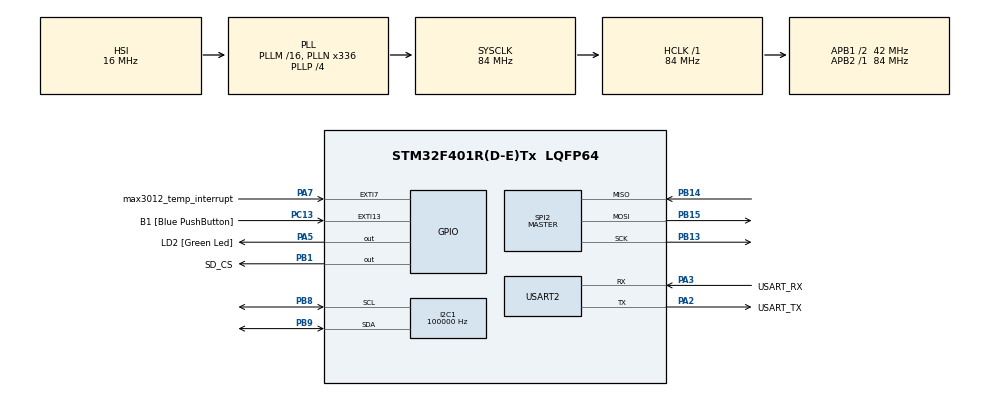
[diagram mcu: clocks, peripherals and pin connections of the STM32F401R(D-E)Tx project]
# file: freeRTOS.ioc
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FREERTOS.BinarySemaphores01=Semaphorebinary,Dynamic,NULL,Available
FREERTOS.INCLUDE_vTaskDelayUntil=0
FREERTOS.Queues01=queue,1,uint32_t,0,Dynamic,NULL,NULL
FREERTOS.Tasks01=Sense,2,128,datasense,Default,NULL,Dynamic,NULL,NULL;Log,0,128,datalog,Default,NULL,Dynamic,NULL,NULL
FREERTOS.configUSE_NEWLIB_REENTRANT=1
FREERTOS.configUSE_PREEMPTION=1
I2C1.ClockSpeed=100000
I2C1.I2C_Mode=I2C_Standard
Mcu.Family=STM32F4
Mcu.Name=STM32F401R(D-E)Tx
Mcu.Package=LQFP64
NVIC.EXTI15_10_IRQn=true\:5\:0\:false\:false\:true\:true\:true\:true\:true
NVIC.EXTI9_5_IRQn=true\:5\:0\:false\:false\:true\:true\:true\:true\:true
NVIC.PriorityGroup=NVIC_PRIORITYGROUP_4
NVIC.TIM5_IRQn=true\:15\:0\:false\:false\:true\:false\:false\:true\:true
NVIC.TimeBase=TIM5_IRQn
NVIC.TimeBaseIP=TIM5
PA13.GPIO_Label=TMS
PA13.Mode=Trace_Asynchronous_SW
PA13.Signal=SYS_JTMS-SWDIO
PA14.GPIO_Label=TCK
PA14.Mode=Trace_Asynchronous_SW
PA14.Signal=SYS_JTCK-SWCLK
PA2.GPIO_Label=USART_TX
PA2.GPIO_Mode=GPIO_MODE_AF_PP
PA2.GPIO_PuPd=GPIO_NOPULL
PA2.GPIO_Speed=GPIO_SPEED_FREQ_LOW
PA2.Mode=Asynchronous
PA2.Signal=USART2_TX
PA3.GPIO_Label=USART_RX
PA3.GPIO_Mode=GPIO_MODE_AF_PP
PA3.GPIO_PuPd=GPIO_NOPULL
PA3.GPIO_Speed=GPIO_SPEED_FREQ_LOW
PA3.Mode=Asynchronous
PA3.Signal=USART2_RX
PA5.GPIO_Label=LD2 [Green Led]
PA5.GPIO_Mode=GPIO_MODE_OUTPUT_PP
PA5.GPIO_PuPd=GPIO_NOPULL
PA5.GPIO_Speed=GPIO_SPEED_FREQ_LOW
PA5.Signal=GPIO_Output
PA7.GPIO_Label=max3012_temp_interrupt
PA7.GPIO_ModeDefaultEXTI=GPIO_MODE_IT_FALLING
PA7.GPIO_PuPd=GPIO_PULLUP
PA7.Signal=GPXTI7
PB1.GPIO_Label=SD_CS
PB1.Signal=GPIO_Output
PB13.Mode=Full_Duplex_Master
PB13.Signal=SPI2_SCK
PB14.Mode=Full_Duplex_Master
PB14.Signal=SPI2_MISO
PB15.Mode=Full_Duplex_Master
PB15.Signal=SPI2_MOSI
PB3.GPIO_Label=SWO
PB3.Mode=Trace_Asynchronous_SW
PB3.Signal=SYS_JTDO-SWO
PB8.Mode=I2C
PB8.Signal=I2C1_SCL
PB9.Mode=I2C
PB9.Signal=I2C1_SDA
PC13-ANTI_TAMP.GPIO_Label=B1 [Blue PushButton]
PC13-ANTI_TAMP.GPIO_ModeDefaultEXTI=GPIO_MODE_IT_FALLING
PC13-ANTI_TAMP.GPIO_PuPd=GPIO_NOPULL
PC13-ANTI_TAMP.Signal=GPXTI13
PC14-OSC32_IN.Mode=LSE-External-Oscillator
PC14-OSC32_IN.Signal=RCC_OSC32_IN
PC15-OSC32_OUT.Mode=LSE-External-Oscillator
PC15-OSC32_OUT.Signal=RCC_OSC32_OUT
PH0\ -\ OSC_IN.Mode=HSE-External-Clock-Source
PH0\ -\ OSC_IN.Signal=RCC_OSC_IN
PH1\ -\ OSC_OUT.Mode=HSE-External-Clock-Source
PH1\ -\ OSC_OUT.Signal=RCC_OSC_OUT
ProjectManager.HeapSize=0x200
ProjectManager.StackSize=0x400
ProjectManager.TargetToolchain=STM32CubeIDE
RCC.48MHZClocksFreq_Value=48000000
RCC.AHBFreq_Value=84000000
RCC.APB1CLKDivider=RCC_HCLK_DIV2
RCC.APB1Freq_Value=42000000
RCC.APB1TimFreq_Value=84000000
RCC.APB2Freq_Value=84000000
RCC.APB2TimFreq_Value=84000000
RCC.CortexFreq_Value=84000000
RCC.HCLKFreq_Value=84000000
RCC.HSE_VALUE=8000000
RCC.HSI_VALUE=16000000
RCC.PLLN=336
RCC.PLLP=RCC_PLLP_DIV4
RCC.PLLQ=7
RCC.SYSCLKFreq_VALUE=84000000
RCC.SYSCLKSource=RCC_SYSCLKSOURCE_PLLCLK
RCC.VCOOutputFreq_Value=336000000
SPI2.BaudRatePrescaler=SPI_BAUDRATEPRESCALER_128
SPI2.Direction=SPI_DIRECTION_2LINES
SPI2.Mode=SPI_MODE_MASTER
SPI2.VirtualType=VM_MASTER
USART2.VirtualMode=VM_ASYNC
VP_FATFS_VS_Generic.Mode=User_defined
VP_FREERTOS_VS_CMSIS_V1.Mode=CMSIS_V1
VP_SYS_VS_tim5.Mode=TIM5
board=NUCLEO-F401RE

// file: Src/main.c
/* USER CODE BEGIN Header */
/**
  ******************************************************************************
  * @file           : main.c
  * @brief          : Main program body
  ******************************************************************************
  * @attention
  *
  * Copyright (c) 2024 STMicroelectronics.
  * All rights reserved.
  *
  * This software is licensed under terms that can be found in the LICENSE file
  * in the root directory of this software component.
  * If no LICENSE file comes with this software, it is provided AS-IS.
  *
  ******************************************************************************
  */
/* USER CODE END Header */
#include "main.h"
#include "cmsis_os.h"
#include "fatfs.h"
#include "i2c.h"
#include "spi.h"
#include "usart.h"
#include "gpio.h"

/* USER CODE BEGIN Includes */
#include "max30102.h"
#include "processing.h"
#include "spo2.h"
#include <stdio.h>
#include <string.h>
#include <stdarg.h>
#include "sdcard.h"

/* USER CODE END Includes */

/* USER CODE BEGIN PM */
#define TEMP_BUFFER_SIZE 256

/* USER CODE END PM */

/* USER CODE BEGIN PV */
float temperatureBuffer[TEMP_BUFFER_SIZE];
uint16_t tempBufferIndex = 0;
/* USER CODE END PV */

void SystemClock_Config(void);
void MX_FREERTOS_Init(void);
/* USER CODE BEGIN PFP */
void myprintf(const char *fmt, ...);
/* USER CODE END PFP */

/* USER CODE BEGIN 0 */

void myprintf(const char *fmt, ...) {
  static char buffer[256];
  va_list args;
  va_start(args, fmt);
  vsnprintf(buffer, sizeof(buffer), fmt, args);
  va_end(args);

  int len = strlen(buffer);
  HAL_UART_Transmit(&huart2, (uint8_t*)buffer, len, -1);

}

void HAL_GPIO_EXTI_Callback(uint16_t GPIO_Pin)

{

	uint16_t size = 0;
	uint8_t Data[256];
	if (GPIO_Pin == B1_Pin){

	uint32_t red_led[32], ir_led[32];
	MAX30102_ReadMultipleSamples(&hi2c1, &huart2, red_led, ir_led, 32);
	for (int i = 0; i < 32; i++) {
		char debug_msg[100];
		uint16_t size = sprintf(debug_msg, "Sample %d - Red: %lu, IR: %lu\r\n", i, red_led[i], ir_led[i]);
		HAL_UART_Transmit(&huart2, (uint8_t *)debug_msg, size, 1000);}

		size = sprintf((char *)Data, "Press button to read MAX30102 next 32 samples.\r\n");
		HAL_UART_Transmit(&huart2, Data, size, 1000);

	 }

	if (GPIO_Pin == max3012_temp_interrupt_Pin){

		 if (tempBufferIndex < TEMP_BUFFER_SIZE) {
		            float temp = MAX30102_ReadTemperature(&hi2c1);
		            temperatureBuffer[++tempBufferIndex]= temp;

		        }

	}
}

void PrintTemperatureBuffer() {
    if (tempBufferIndex > 0) {
        char debug_msg[100];

        // Print all stored temperature values
        for (uint16_t i = 0; i < tempBufferIndex; i++) {
            uint16_t size = sprintf(debug_msg, "Temperature Sample %d: %lf\r\n", i, temperatureBuffer[i]);
            HAL_UART_Transmit(&huart2, (uint8_t *)debug_msg, size, 1000);
        }

        // Clear the buffer after printing
        tempBufferIndex = 0;
    }
}

/* USER CODE END 0 */

int main(void)
{

  /* USER CODE BEGIN 1 */
	uint16_t size = 0;
	uint8_t Data[256];
	uint32_t red_led = 0;
	uint32_t ir_led = 0;

  /* USER CODE END 1 */

  /* MCU Configuration--------------------------------------------------------*/

  /* Reset of all peripherals, Initializes the Flash interface and the Systick. */
  HAL_Init();

  /* Configure the system clock */
  SystemClock_Config();

  /* Initialize all configured peripherals */
  MX_GPIO_Init();
  MX_USART2_UART_Init();
  MX_I2C1_Init();
  MX_FATFS_Init();
  MX_SPI2_Init();
  /* USER CODE BEGIN 2 */

  myprintf("\r\n~ SD card Initialization ~\r\n\r\n");

//  SDCard_Deinit();

     if (SDCard_Init() == FR_OK) {
         SDCard_GetStats();
     }

	while (!MAX30102_Init(&hi2c1, &huart2, size, Data)) {
 		size = sprintf((char *)Data, "MAX30102 initialization failed\r\n");
 		HAL_UART_Transmit(&huart2, Data, size, 1000);
 		HAL_Delay(2000);
 	}

  /* USER CODE END 2 */

  /* Call init function for freertos objects (in cmsis_os2.c) */
  MX_FREERTOS_Init();

  /* Start scheduler */
  osKernelStart();

  /* We should never get here as control is now taken by the scheduler */

  /* Infinite loop */
  while (1)
  {

    /* USER CODE BEGIN 3 */
	  // ***********COMMENT 1 For heart rate ***************************

//	  Process_Max30102A_Data(&hi2c1, &huart2);

	  // ***********COMMENT 2 For SPO2 ***************************

//	  Process_Max30102B_Data(&hi2c1, &huart2);

	  // ***********COMMENT 3 For polling over Red & IR value ***************************

//	MAX30102_ReadRawData(&hi2c1, &huart2, &red_led, &ir_led);

	  // ***********COMMENT 4 do not un-comment anything for clear demonstration of interrupt ***************************

  }

  /* USER CODE END 3 */
}

void SystemClock_Config(void)
{
  RCC_OscInitTypeDef RCC_OscInitStruct = {0};
  RCC_ClkInitTypeDef RCC_ClkInitStruct = {0};

  /** Configure the main internal regulator output voltage
  */
  __HAL_RCC_PWR_CLK_ENABLE();
  __HAL_PWR_VOLTAGESCALING_CONFIG(PWR_REGULATOR_VOLTAGE_SCALE2);

  /** Initializes the RCC Oscillators according to the specified parameters
  * in the RCC_OscInitTypeDef structure.
  */
  RCC_OscInitStruct.OscillatorType = RCC_OSCILLATORTYPE_HSI;
  RCC_OscInitStruct.HSIState = RCC_HSI_ON;
  RCC_OscInitStruct.HSICalibrationValue = RCC_HSICALIBRATION_DEFAULT;
  RCC_OscInitStruct.PLL.PLLState = RCC_PLL_ON;
  RCC_OscInitStruct.PLL.PLLSource = RCC_PLLSOURCE_HSI;
  RCC_OscInitStruct.PLL.PLLM = 16;
  RCC_OscInitStruct.PLL.PLLN = 336;
  RCC_OscInitStruct.PLL.PLLP = RCC_PLLP_DIV4;
  RCC_OscInitStruct.PLL.PLLQ = 7;
  if (HAL_RCC_OscConfig(&RCC_OscInitStruct) != HAL_OK)
  {
    Error_Handler();
  }

  /** Initializes the CPU, AHB and APB buses clocks
  */
  RCC_ClkInitStruct.ClockType = RCC_CLOCKTYPE_HCLK|RCC_CLOCKTYPE_SYSCLK
                              |RCC_CLOCKTYPE_PCLK1|RCC_CLOCKTYPE_PCLK2;
  RCC_ClkInitStruct.SYSCLKSource = RCC_SYSCLKSOURCE_PLLCLK;
  RCC_ClkInitStruct.AHBCLKDivider = RCC_SYSCLK_DIV1;
  RCC_ClkInitStruct.APB1CLKDivider = RCC_HCLK_DIV2;
  RCC_ClkInitStruct.APB2CLKDivider = RCC_HCLK_DIV1;

  if (HAL_RCC_ClockConfig(&RCC_ClkInitStruct, FLASH_LATENCY_2) != HAL_OK)
  {
    Error_Handler();
  }
}

void HAL_TIM_PeriodElapsedCallback(TIM_HandleTypeDef *htim)
{
  if (htim->Instance == TIM5) {
    HAL_IncTick();
  }
}

void Error_Handler(void)
{
  __disable_irq();
  while (1)
  {
  }
}

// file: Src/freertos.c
/* USER CODE BEGIN Header */
/**
 ******************************************************************************
 * File Name          : freertos.c
 * Description        : Code for freertos applications
 ******************************************************************************
 * @attention
 *
 * Copyright (c) 2024 STMicroelectronics.
 * All rights reserved.
 *
 * This software is licensed under terms that can be found in the LICENSE file
 * in the root directory of this software component.
 * If no LICENSE file comes with this software, it is provided AS-IS.
 *
 ******************************************************************************
 */
/* USER CODE END Header */

#include "FreeRTOS.h"
#include "task.h"
#include "main.h"
#include "cmsis_os.h"

/* USER CODE BEGIN Includes */
#include "i2c.h"
#include "usart.h"
#include "max30102.h"
#include "processing.h"
#include "spo2.h"
#include <stdio.h>
#include <string.h>
#include <stdarg.h>
#include "sdcard.h"

/* USER CODE END Includes */

osThreadId SenseHandle;
osThreadId LogHandle;
osMessageQId queueHandle;
osSemaphoreId SemaphorebinaryHandle;

void datasense(void const * argument);
void datalog(void const * argument);

void MX_FREERTOS_Init(void); /* (MISRA C 2004 rule 8.1) */

/* GetIdleTaskMemory prototype (linked to static allocation support) */
void vApplicationGetIdleTaskMemory( StaticTask_t **ppxIdleTaskTCBBuffer, StackType_t **ppxIdleTaskStackBuffer, uint32_t *pulIdleTaskStackSize );

/* USER CODE BEGIN GET_IDLE_TASK_MEMORY */
static StaticTask_t xIdleTaskTCBBuffer;
static StackType_t xIdleStack[configMINIMAL_STACK_SIZE];

void vApplicationGetIdleTaskMemory(StaticTask_t **ppxIdleTaskTCBBuffer,
		StackType_t **ppxIdleTaskStackBuffer, uint32_t *pulIdleTaskStackSize) {
	*ppxIdleTaskTCBBuffer = &xIdleTaskTCBBuffer;
	*ppxIdleTaskStackBuffer = &xIdleStack[0];
	*pulIdleTaskStackSize = configMINIMAL_STACK_SIZE;
	/* place for user code */
}
/* USER CODE END GET_IDLE_TASK_MEMORY */

void MX_FREERTOS_Init(void) {

  /* Create the semaphores(s) */
  /* definition and creation of Semaphorebinary */
  osSemaphoreDef(Semaphorebinary);
  SemaphorebinaryHandle = osSemaphoreCreate(osSemaphore(Semaphorebinary), 1);

  /* Create the queue(s) */
  /* definition and creation of queue */
  osMessageQDef(queue, 1, uint32_t);
  queueHandle = osMessageCreate(osMessageQ(queue), NULL);

  /* Create the thread(s) */
  /* definition and creation of Sense */
  osThreadDef(Sense, datasense, osPriorityHigh, 0, 128);
  SenseHandle = osThreadCreate(osThread(Sense), NULL);

  /* definition and creation of Log */
  osThreadDef(Log, datalog, osPriorityNormal, 0, 128);
  LogHandle = osThreadCreate(osThread(Log), NULL);

}

void datasense(void const * argument)
{
  /* USER CODE BEGIN datasense */

	 uint32_t heartRate = 0;

  /* Infinite loop */
  for(;;)
  {
	           myprintf("SENSE\r\n\n");
	           heartRate = Process_Max30102A_Data(&hi2c1, &huart2);
	           if (xQueueSend(queueHandle, &heartRate, portMAX_DELAY) == pdPASS) {
//	        	   xSemaphoreGive(SemaphorebinaryHandle);
	           }

	           myprintf("SENSE DONE\r\n\n");
	           osDelay(10);
//	           osThreadTerminate(NULL);
	           vTaskResume(LogHandle);
	          vTaskSuspend(NULL);

  }

  /* USER CODE END datasense */
}

void datalog(void const * argument)
{
  /* USER CODE BEGIN datalog */
	uint32_t heart_rate;

  /* Infinite loop */
  for(;;)
  {
//	  if(xSemaphoreTake(SemaphorebinaryHandle, portMAX_DELAY) == pdTRUE){
	           myprintf("LOGG\r\n\n");
	           if (xQueueReceive(queueHandle, &heart_rate, portMAX_DELAY) == pdPASS) {
//	               myprintf("Received heartrate: %lu\r\n\n", heart_rate);
	               logToSDCard(heart_rate);
	           }
	           myprintf("LOGG DONE\r\n\n");
//	           osThreadTerminate(NULL);
	           vTaskResume(SenseHandle);
	           vTaskSuspend(NULL);
	  }

  /* USER CODE END datalog */
}
